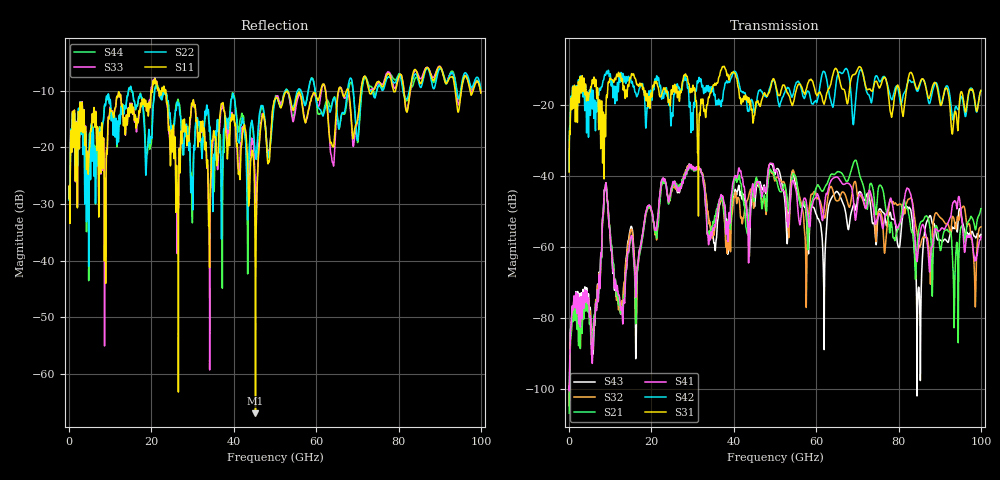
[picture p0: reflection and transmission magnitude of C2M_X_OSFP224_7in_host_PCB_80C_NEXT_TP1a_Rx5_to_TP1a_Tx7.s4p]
# GHz S RI R 45
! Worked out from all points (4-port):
!   4000 points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, 25 MHz to 100 GHz, reference 45 ohm
!   strongest paths, dB at 25 MHz, 25.02 GHz, 50.02 GHz, 75.03 GHz, 100 GHz:
!     S31: -38.9, -16.9, -13.5, -14.3, -15.8
!     S42: -38.6, -22.1, -13.7, -12.5, -15.9
!     S41: -99.2, -43.0, -38.6, -51.7, -57.0
!     S21: -106.9, -43.7, -40.8, -44.0, -49.2
!     S32: -104.7, -44.1, -41.3, -50.2, -54.3
!     S43: -104.7, -43.3, -39.3, -51.0, -56.5
!   lowest |S11| = -66.9 dB at 45.27 GHz (marker M1), VSWR 1.00, Z = 45 - j0.0308 ohm
!   |S11| at or under -10 dB: start of sweep to 19.97 GHz; 23.49 GHz to 61.09 GHz (37.6 GHz wide, 88.9 % of centre); 62.26 GHz to 65.42 GHz (3.161 GHz wide, 4.95 % of centre) (the widest 3 of 15)
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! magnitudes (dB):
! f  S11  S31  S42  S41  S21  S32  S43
! 25 MHz  -29.0  -38.9  -38.6  -99.2  -106.9  -104.7  -104.7
! 6.25 GHz  -15.9  -14.4  -18.8  -80.6  -79.1  -79.7  -82.1
! 8.9 GHz  -44.0  -26.4  -11.5  -42.1  -42.2  -42.3  -42.1
! 12.68 GHz  -12.2  -13.0  -10.9  -77.4  -77.7  -77.1  -77.8
! 22.85 GHz  -10.1  -15.4  -17.4  -40.5  -41.3  -41.4  -40.6
! 45.27 GHz  -66.9  -20.2  -21.0  -43.5  -41.2  -42.1  -45.9
! 100 GHz  -10.4  -15.8  -15.9  -57.0  -49.2  -54.3  -56.5
